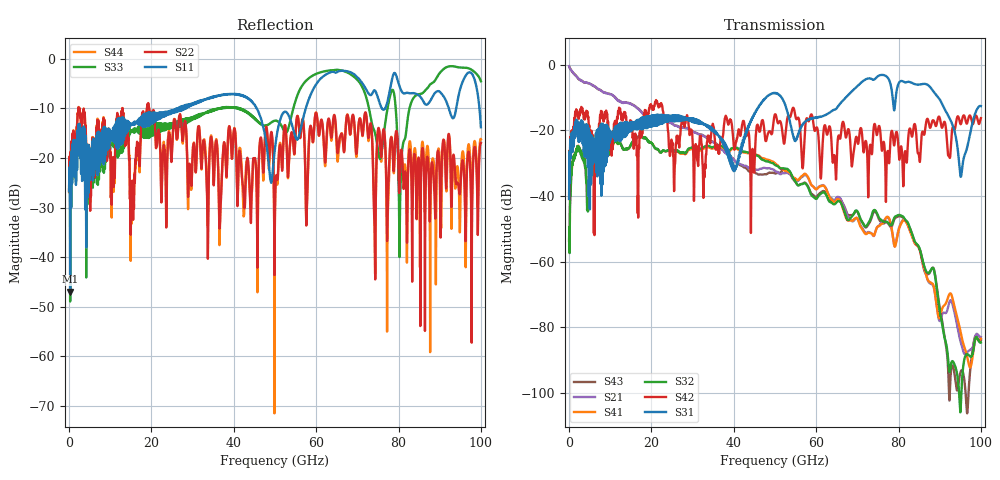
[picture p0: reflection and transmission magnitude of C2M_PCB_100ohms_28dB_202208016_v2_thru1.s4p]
! Info: Touchstone file created by Circ.  Input file=Intel_C2M_200G_12p0in_202208016_staggered.circ
# Hz S RI R 50
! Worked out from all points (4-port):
!   10000 points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, 10 MHz to 100 GHz, reference 50 ohm
!   strongest paths, dB at 10 MHz, 25.01 GHz, 50.01 GHz, 75.01 GHz, 100 GHz:
!     S31: -40.9, -15.8, -8.6, -3.4, -12.6
!     S42: -40.9, -24.5, -15.1, -19.7, -16.3
!     S32: -53.5, -26.1, -30.5, -46.0, -84.7
!     S41: -53.5, -26.3, -30.1, -49.3, -83.5
!     S21: -0.4, -17.9, -32.4, -49.3, -83.1
!     S43: -0.4, -17.9, -33.1, -46.3, -84.0
!   lowest |S11| = -47.0 dB at 260 MHz (marker M1), VSWR 1.01, Z = 49.9 - j0.435 ohm
!   |S11| at or under -10 dB: start of sweep to 26.15 GHz; 45.54 GHz to 57.48 GHz (11.94 GHz wide, 23.2 % of centre); 92.21 GHz to 94.01 GHz (1.792 GHz wide, 1.92 % of centre)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
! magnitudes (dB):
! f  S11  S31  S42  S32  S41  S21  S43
! 10 MHz  -26.7  -40.9  -40.9  -53.5  -53.5  -0.4  -0.4
! 260 MHz  -47.0  -24.2  -23.4  -40.8  -40.8  -1.1  -1.1
! 40.87 GHz  -7.1  -30.3  -22.1  -25.4  -25.7  -29.9  -30.0
! 78.53 GHz  -3.7  -9.6  -20.7  -48.2  -51.5  -51.6  -48.8
! 80.36 GHz  -5.8  -5.1  -27.1  -45.8  -49.2  -48.9  -46.2
! 95.17 GHz  -5.5  -34.1  -18.0  -102.5  -82.1  -84.9  -93.4
! 100 GHz  -13.8  -12.6  -16.3  -84.7  -83.5  -83.1  -84.0
